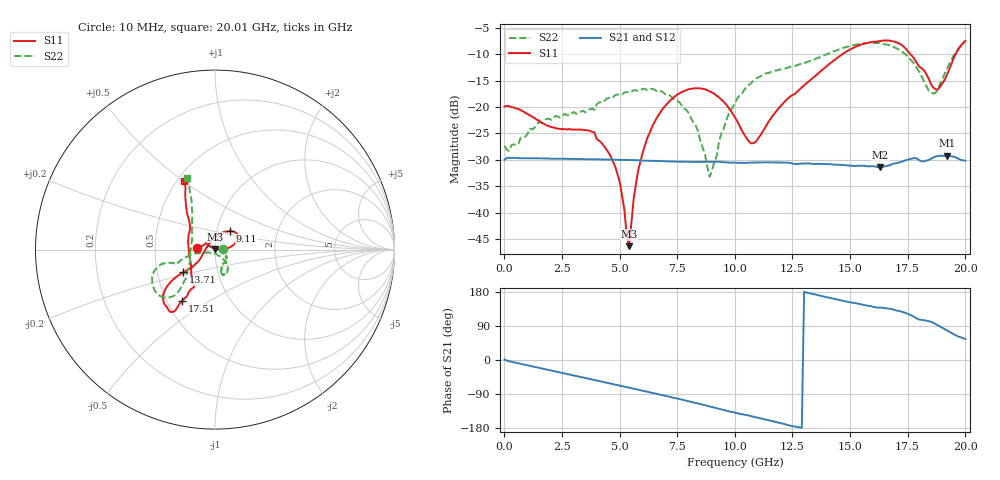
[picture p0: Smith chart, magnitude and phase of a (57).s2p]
! Hittite Microwave Corporation
! 2 Elizabeth Drive
! Chelmsford, MA 01824
! http://www.hittite.com
! Tel: 978-250-3343
! Fax: 978-250-3373
! Device:  HMC424LP3
! Description: 0.5 dB GaAs MMIC 6-Bit Digital Attenuator
! Frequency:  DC -  13.00 GHz
! Package:  LP3  - 3x3 mm Quad Flatpack No-Lead (QFN) Plastic Package: 16 pin
! Ports:  2 RF, 7 DC
!  Pad  1  = Ground
!  Pad  2  = RF IN  =  Port 1
!  Pad  3  = Ground
!  Pad  4  = V6
!  Pad  5  = V5
!  Pad  6  = V4
!  Pad  7  = V3
!  Pad  8  = V2
!  Pad  9  = V1
!  Pad 10  = Ground
!  Pad 11  = RF OUT  = Port 2
!  Pad 12  = Ground
!  Pad 15  = VEE
! Control:  -5 Volt control voltage
! State:  55
! Attenuation:  27.5 dB
! Voltages:  Vdd = -5.00 Volts  Idd =  -2.639 mA
!  V1  = -5.00 Volts  I1  =  -1.0 uA
!  V2  = -5.00 Volts  I2  =  -1.0 uA
!  V3  = -5.00 Volts  I3  =  -1.0 uA
!  V4  = 0.00 Volts  I4  =  30.0 uA
!  V5  = -5.00 Volts  I5  =  -1.0 uA
!  V6  = -5.00 Volts  I6  =  -1.0 uA
! Data:  The device was measured on evaluation board 105354-1.
!  Data was collected using a calibrated network analyzer.
!  The evaluation circuit board was modeled and simulated.  This was use
!  to removed the evaluation board circuit from the measured data.
!  The reference plane is the edge of the package pin.
! Misc:  Lot xxxx, Unit 1
!  Application 20120001, Data collected in Application 20090083
! Date Measured:  2009-09-15
! Date:  2012-05-14  MJV
! Note:
!  Hittite supplies this data as a sample of measured data at the package pin
!  for this product.  Your particular data for this product may vary.
!  Data was taken at 25 degrees C.
!  Hittite reserves the right to change this data at anytime.
# GHz S MA R 50
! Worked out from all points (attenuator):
!   201 points, 10 MHz to 20.01 GHz, reference 50 ohm
!   highest |S21| = -29.23 dB at 19.21 GHz (marker M1); lowest = -31.4 dB at 16.31 GHz (marker M2)
!   lowest |S11| = -46.4 dB at 5.41 GHz (marker M3), VSWR 1.01, Z = 50.2 + j0.429 ohm
!   |S11| at or under -10 dB: start of sweep to 14.67 GHz; 17.62 GHz to 19.58 GHz (1.964 GHz wide, 10.6 % of centre)
!   |S22| runs from -33.2 to -7.4 dB; largest |S21 - S12| = 0.0014
!   S11 on the Smith chart (normalised r, x): 10 MHz: 0.82, +0.02; 9.11 GHz: 1.16, +0.24; 13.71 GHz: 0.68, -0.18; 17.51 GHz: 0.60, -0.38; 20.01 GHz: 0.54, +0.50
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0.01  0.1014 174.7  0.03161 1.2  0.0328 -0.1  0.04284 5.3
3.41  0.06082 138.1  0.03209 -46.2  0.03205 -46.3  0.09236 -54.2
3.91  0.05731 141.7  0.03199 -52.9  0.03199 -53.0  0.09394 -66.5
4.81  0.02725 147.9  0.03169 -64.9  0.03165 -64.9  0.1297 -75.2
5.01  0.01935 146.1  0.03158 -67.7  0.03154 -67.5  0.1305 -73.9
5.41  0.004807 62.6  0.03146 -73.0  0.03144 -73.2  0.1368 -74.1
5.81  0.02521 2.0  0.03132 -78.5  0.03115 -78.5  0.1417 -72.8
6.71  0.0851 9.3  0.03083 -90.7  0.03076 -90.8  0.1429 -63.3
8.01  0.1474 29.7  0.03024 -108.9  0.03024 -109.0  0.08716 -47.9
8.41  0.1507 36.6  0.03019 -114.8  0.03012 -114.9  0.05861 -48.1
8.91  0.1407 46.4  0.03025 -122.4  0.03021 -122.5  0.02184 -101.4
9.11  0.1336 50.6  0.03028 -125.6  0.03026 -125.6  0.03009 -137.6
10.01  0.07976 78.9  0.02976 -139.1  0.02965 -139.0  0.1096 -169.0
10.91  0.04657 160.5  0.02987 -151.0  0.0298 -151.0  0.1856 -164.0
13.41  0.1897 -143.8  0.02889 174.0  0.02877 174.0  0.2782 -164.7
13.71  0.2164 -144.6  0.02895 169.8  0.02888 169.9  0.2966 -164.7
16.31  0.4217 -128.7  0.02685 138.2  0.02673 138.3  0.4016 -140.1
16.71  0.4254 -125.2  0.02806 135.3  0.02798 135.5  0.3839 -135.5
17.51  0.3383 -122.9  0.03172 121.9  0.03166 121.8  0.2996 -131.1
18.61  0.1529 -152.7  0.0332 98.3  0.03321 98.3  0.1339 175.2
19.21  0.2017 134.1  0.03457 78.3  0.03437 78.3  0.229 123.4
20.01  0.4221 114.4  0.031 55.5  0.03065 55.9  0.4263 111.5
